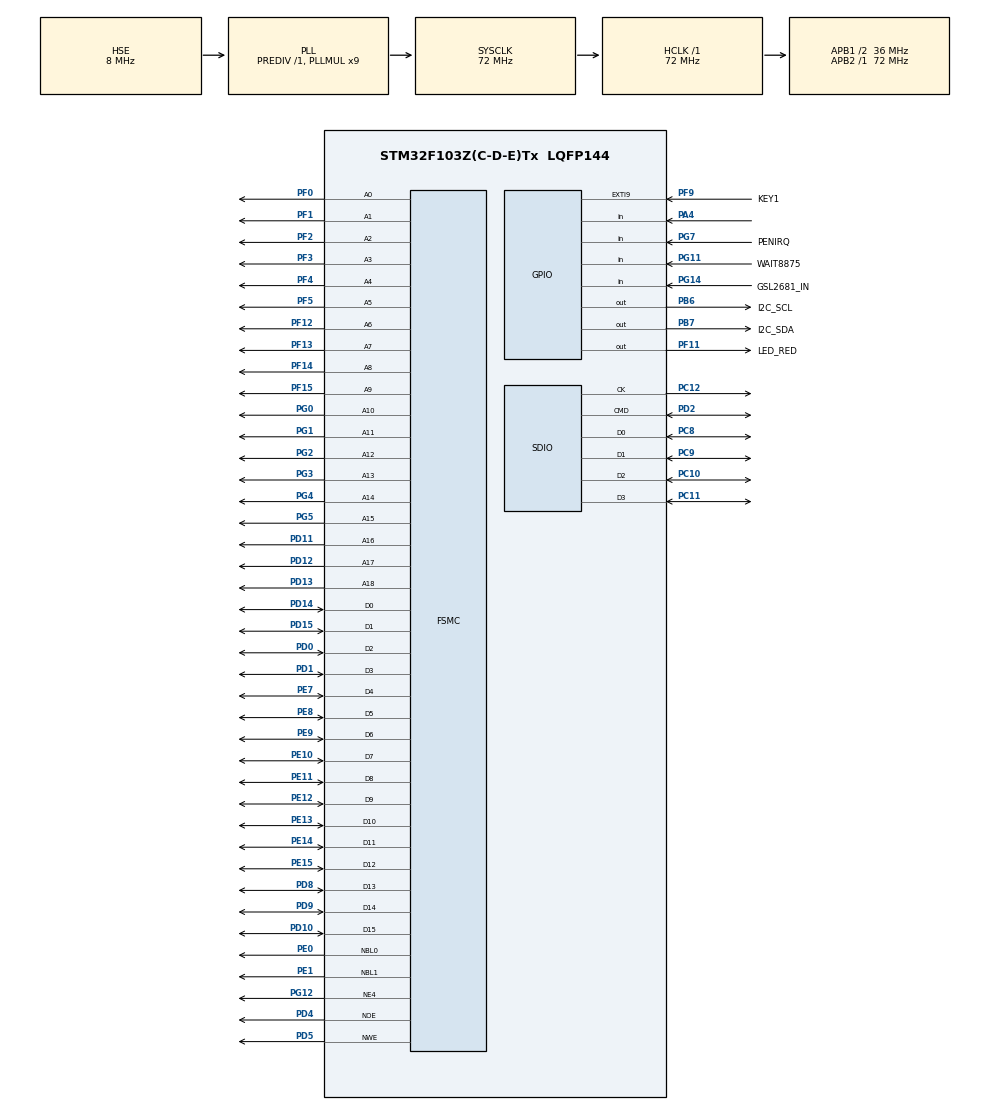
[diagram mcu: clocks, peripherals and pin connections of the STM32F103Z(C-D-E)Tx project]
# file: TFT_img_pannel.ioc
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Dma.Request0=SDIO
Dma.SDIO.0.Direction=DMA_PERIPH_TO_MEMORY
Dma.SDIO.0.Instance=DMA2_Channel4
Dma.SDIO.0.MemDataAlignment=DMA_MDATAALIGN_WORD
Dma.SDIO.0.MemInc=DMA_MINC_ENABLE
Dma.SDIO.0.Mode=DMA_NORMAL
Dma.SDIO.0.PeriphDataAlignment=DMA_PDATAALIGN_WORD
Dma.SDIO.0.PeriphInc=DMA_PINC_DISABLE
Dma.SDIO.0.Priority=DMA_PRIORITY_LOW
FATFS.BSP.number=1
FATFS._CODE_PAGE=850
FATFS._LFN_UNICODE=0
FATFS._STRF_ENCODE=0
FATFS._USE_FIND=1
FATFS._USE_LFN=2
FATFS0.BSP.STBoard=false
FATFS0.BSP.api=Unknown
FATFS0.BSP.i2caddr=0
FATFS0.BSP.instance=PA4
FATFS0.BSP.ip=GPIO
FATFS0.BSP.mode=Input
FATFS0.BSP.name=Detect_SDIO
FATFS0.BSP.solution=PA4
FSMC.AddressSetupTime4=0
FSMC.BusTurnAroundDuration4=0
FSMC.DataSetupTime4=3
FSMC.WriteOperation4=FSMC_WRITE_OPERATION_ENABLE
Mcu.Family=STM32F1
Mcu.Name=STM32F103Z(C-D-E)Tx
Mcu.Package=LQFP144
NVIC.DMA2_Channel4_5_IRQn=true\:0\:0\:false\:false\:true\:false\:true\:true
NVIC.EXTI9_5_IRQn=true\:0\:0\:false\:false\:true\:true\:true\:true
NVIC.PriorityGroup=NVIC_PRIORITYGROUP_4
OSC_IN.Mode=HSE-External-Oscillator
OSC_IN.Signal=RCC_OSC_IN
OSC_OUT.Mode=HSE-External-Oscillator
OSC_OUT.Signal=RCC_OSC_OUT
PA13.Mode=Serial_Wire
PA13.Signal=SYS_JTMS-SWDIO
PA14.Mode=Serial_Wire
PA14.Signal=SYS_JTCK-SWCLK
PA4.GPIO_PuPd=GPIO_PULLDOWN
PA4.Signal=GPIO_Input
PB6.GPIO_Label=I2C_SCL
PB6.GPIO_ModeDefaultOutputPP=GPIO_MODE_OUTPUT_OD
PB6.GPIO_PuPd=GPIO_NOPULL
PB6.GPIO_Speed=GPIO_SPEED_FREQ_HIGH
PB6.Signal=GPIO_Output
PB7.GPIO_Label=I2C_SDA
PB7.GPIO_ModeDefaultOutputPP=GPIO_MODE_OUTPUT_OD
PB7.GPIO_PuPd=GPIO_NOPULL
PB7.GPIO_Speed=GPIO_SPEED_FREQ_HIGH
PB7.Signal=GPIO_Output
PC10.Mode=SD_4_bits_Wide_bus
PC10.Signal=SDIO_D2
PC11.Mode=SD_4_bits_Wide_bus
PC11.Signal=SDIO_D3
PC12.Mode=SD_4_bits_Wide_bus
PC12.Signal=SDIO_CK
PC8.Mode=SD_4_bits_Wide_bus
PC8.Signal=SDIO_D0
PC9.Mode=SD_4_bits_Wide_bus
PC9.Signal=SDIO_D1
PD0.Signal=FSMC_D2_DA2
PD1.Signal=FSMC_D3_DA3
PD10.Signal=FSMC_D15_DA15
PD11.Signal=FSMC_A16_CLE
PD12.Signal=FSMC_A17_ALE
PD13.Signal=FSMC_A18
PD14.Signal=FSMC_D0_DA0
PD15.Signal=FSMC_D1_DA1
PD2.Mode=SD_4_bits_Wide_bus
PD2.Signal=SDIO_CMD
PD4.Signal=FSMC_NOE
PD5.Signal=FSMC_NWE
PD8.Signal=FSMC_D13_DA13
PD9.Signal=FSMC_D14_DA14
PE0.Signal=FSMC_NBL0
PE1.Signal=FSMC_NBL1
PE10.Signal=FSMC_D7_DA7
PE11.Signal=FSMC_D8_DA8
PE12.Signal=FSMC_D9_DA9
PE13.Signal=FSMC_D10_DA10
PE14.Signal=FSMC_D11_DA11
PE15.Signal=FSMC_D12_DA12
PE7.Signal=FSMC_D4_DA4
PE8.Signal=FSMC_D5_DA5
PE9.Signal=FSMC_D6_DA6
PF0.Signal=FSMC_A0
PF1.Signal=FSMC_A1
PF11.GPIO_Label=LED_RED
PF11.PinState=GPIO_PIN_SET
PF11.Signal=GPIO_Output
PF12.Signal=FSMC_A6
PF13.Signal=FSMC_A7
PF14.Signal=FSMC_A8
PF15.Signal=FSMC_A9
PF2.Signal=FSMC_A2
PF3.Signal=FSMC_A3
PF4.Signal=FSMC_A4
PF5.Signal=FSMC_A5
PF9.GPIO_Label=KEY1
PF9.Signal=GPXTI9
PG0.Signal=FSMC_A10
PG1.Signal=FSMC_A11
PG11.GPIO_Label=WAIT8875
PG11.GPIO_PuPd=GPIO_PULLUP
PG11.Signal=GPIO_Input
PG12.Mode=NorPsramChipSelect4_4
PG12.Signal=FSMC_NE4
PG14.GPIO_Label=GSL2681_IN
PG14.GPIO_PuPd=GPIO_PULLDOWN
PG14.Signal=GPIO_Input
PG2.Signal=FSMC_A12
PG3.Signal=FSMC_A13
PG4.Signal=FSMC_A14
PG5.Signal=FSMC_A15
PG7.GPIO_Label=PENIRQ
PG7.GPIO_PuPd=GPIO_PULLUP
PG7.Signal=GPIO_Input
ProjectManager.HeapSize=0x4000
ProjectManager.StackSize=0x1000
ProjectManager.TargetToolchain=MDK-ARM V5.32
RCC.AHBFreq_Value=72000000
RCC.APB1CLKDivider=RCC_HCLK_DIV2
RCC.APB1Freq_Value=36000000
RCC.APB1TimFreq_Value=72000000
RCC.APB2Freq_Value=72000000
RCC.APB2TimFreq_Value=72000000
RCC.HCLKFreq_Value=72000000
RCC.PLLMUL=RCC_PLL_MUL9
RCC.PLLSourceVirtual=RCC_PLLSOURCE_HSE
RCC.SYSCLKFreq_VALUE=72000000
RCC.SYSCLKSource=RCC_SYSCLKSOURCE_PLLCLK
RCC.USBFreq_Value=72000000
SDIO.ClockDiv=10
SH.FSMC_A0.0=FSMC_A0,19b-a4
SH.FSMC_A1.0=FSMC_A1,19b-a4
SH.FSMC_A10.0=FSMC_A10,19b-a4
SH.FSMC_A11.0=FSMC_A11,19b-a4
SH.FSMC_A12.0=FSMC_A12,19b-a4
SH.FSMC_A13.0=FSMC_A13,19b-a4
SH.FSMC_A14.0=FSMC_A14,19b-a4
SH.FSMC_A15.0=FSMC_A15,19b-a4
SH.FSMC_A16_CLE.0=FSMC_A16,19b-a4
SH.FSMC_A17_ALE.0=FSMC_A17,19b-a4
SH.FSMC_A18.0=FSMC_A18,19b-a4
SH.FSMC_A2.0=FSMC_A2,19b-a4
SH.FSMC_A3.0=FSMC_A3,19b-a4
SH.FSMC_A4.0=FSMC_A4,19b-a4
SH.FSMC_A5.0=FSMC_A5,19b-a4
SH.FSMC_A6.0=FSMC_A6,19b-a4
SH.FSMC_A7.0=FSMC_A7,19b-a4
SH.FSMC_A8.0=FSMC_A8,19b-a4
SH.FSMC_A9.0=FSMC_A9,19b-a4
SH.FSMC_D0_DA0.0=FSMC_D0,16b-d4
SH.FSMC_D10_DA10.0=FSMC_D10,16b-d4
SH.FSMC_D11_DA11.0=FSMC_D11,16b-d4
SH.FSMC_D12_DA12.0=FSMC_D12,16b-d4
SH.FSMC_D13_DA13.0=FSMC_D13,16b-d4
SH.FSMC_D14_DA14.0=FSMC_D14,16b-d4
SH.FSMC_D15_DA15.0=FSMC_D15,16b-d4
SH.FSMC_D1_DA1.0=FSMC_D1,16b-d4
SH.FSMC_D2_DA2.0=FSMC_D2,16b-d4
SH.FSMC_D3_DA3.0=FSMC_D3,16b-d4
SH.FSMC_D4_DA4.0=FSMC_D4,16b-d4
SH.FSMC_D5_DA5.0=FSMC_D5,16b-d4
SH.FSMC_D6_DA6.0=FSMC_D6,16b-d4
SH.FSMC_D7_DA7.0=FSMC_D7,16b-d4
SH.FSMC_D8_DA8.0=FSMC_D8,16b-d4
SH.FSMC_D9_DA9.0=FSMC_D9,16b-d4
SH.FSMC_NBL0.0=FSMC_NBL0,2ByteEnable4
SH.FSMC_NBL1.0=FSMC_NBL1,2ByteEnable4
SH.FSMC_NOE.0=FSMC_NOE,Sram4
SH.FSMC_NWE.0=FSMC_NWE,Sram4
VP_FATFS_VS_SDIO.Mode=SDIO
board=custom

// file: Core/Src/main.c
/* USER CODE BEGIN Header */
/**
  ******************************************************************************
  * @file           : main.c
  * @brief          : Main program body
  ******************************************************************************
  * @attention
  *
  * Copyright (c) 2022 STMicroelectronics.
  * All rights reserved.
  *
  * This software is licensed under terms that can be found in the LICENSE file
  * in the root directory of this software component.
  * If no LICENSE file comes with this software, it is provided AS-IS.
  *
  ******************************************************************************
  */
/* USER CODE END Header */
#include "main.h"
#include "dma.h"
#include "fatfs.h"
#include "sdio.h"
#include "gpio.h"
#include "fsmc.h"

/* USER CODE BEGIN Includes */
#include <stdio.h>

#include "StartBMP.h"
#include "Images.h"
#include "Images_jpg.h"
#include "Touches.h"
//#include "StartBMP.h"

/* USER CODE END Includes */

/* USER CODE BEGIN PM */
#define PICT_DIR					"pictures"
#define C_BUF_SIZE 				128U
#define PICT_PAUSE				"Paused, touch panel to show next..."
#define PICT_CONTINUE			"Continue..."
/* USER CODE END PM */

/* USER CODE BEGIN PV */
//FATFS fatfs;
FRESULT fresult;
FIL pic_fil;
DIR pic_dir = {0};
FILINFO pic_info;
char cbuf[C_BUF_SIZE];
volatile int8_t pic_pause = 0;
int8_t pic_pause_old = 0;
volatile int32_t pic_pause_delay = 0;

point2 touch_p, touch_old = {0, 0};
uint32_t touch_delay;
const uint32_t touch_delay_init = 2;
/* USER CODE END PV */

void SystemClock_Config(void);

/* USER CODE BEGIN 0 */
void error_handler(void)
{
	f_mount(NULL, SDPath, 1);
	// lcd_log("Umount disk", fresult);
	while (1) {
		HAL_GPIO_TogglePin(LED_RED_GPIO_Port, LED_RED_Pin);
		HAL_Delay(250);
	}
}
/* USER CODE END 0 */

int main(void)
{
  /* USER CODE BEGIN 1 */
	// uint32_t x, y;

  /* USER CODE END 1 */

  /* MCU Configuration--------------------------------------------------------*/

  /* Reset of all peripherals, Initializes the Flash interface and the Systick. */
  HAL_Init();

  /* Configure the system clock */
  SystemClock_Config();

  /* Initialize all configured peripherals */
  MX_GPIO_Init();
  MX_DMA_Init();
  MX_FSMC_Init();
  MX_SDIO_SD_Init();
  MX_FATFS_Init();
  /* USER CODE BEGIN 2 */

	// initialize lcd screen
	cwl_lcd_init();
	cwl_lcd_clear();

	cwl_lcd_log("Initialize system...", 0);
	cwl_print_bmp_r((u16*)start_bmp, 300, 200, 200, 42);
	LcdPrintStr("By SDUST weilinfox", 350, 243, WHITE, BLACK, 0);

	if (cwl_touch_init()) {
		cwl_lcd_log("Load touch panel firmware failed.", 0);
		while (1) {
			HAL_GPIO_TogglePin(LED_RED_GPIO_Port, LED_RED_Pin);
			HAL_Delay(250);
		}
	}

	// mount fat file system
	fresult = f_mount(&SDFatFS, SDPath, 1);
	if (fresult != FR_OK) {
		if (fresult == FR_NO_FILESYSTEM)
			cwl_lcd_log("Not a FAT file system", 0);
		else
			cwl_lcd_log("Mount error", fresult);
		error_handler();
	}

	/*
	RA8875_DrawHLine(0,240,800,BLACK);
	RA8875_DrawVLine(400,0,480,BLACK);
	LcdPrint16bitBmp((u16*)0x0800F000,2,2,231,205);
	for(x=2;x<231;x++)
		for(y=2;y<205;y++) {
			RA8875_PutPixelGUI(x,y+240,RA8875_GetPixelGUI(x,y));
		}
	LcdFillRec(450,60,550,180,0,BLACK);
	RA8875_RTERect(650,60,750,180,BLACK);
	LcdPrintStr("LCD experiment by weilinfox",400+2,240+2,BLACK,WHITE,0);
	LcdPrintBIAS(400,480,800,240,BLACK);
	LcdPrintBIAS(600,480,800,360,BLACK);
	*/

  /* USER CODE END 2 */

  /* Infinite loop */
  /* USER CODE BEGIN WHILE */
  while (1)
  {
		uint32_t plen;
		uint32_t pic_cnt = 0;
		if (pic_pause != pic_pause_old) {
			cwl_lcd_log(PICT_PAUSE, 0);
			HAL_Delay(250);
			pic_pause_old = pic_pause;
		}
		touch_delay = touch_delay_init; touch_old = touch_p;
		while (pic_pause && touch_delay) {	// pause
			touch_p = cwl_touch_point();
			if (touch_old.x != touch_p.x && touch_old.y != touch_p.y) {
				//cwl_lcd_log("touch x: ", touch_p.x);
				touch_old = touch_p;
				touch_delay--;
			}
			HAL_Delay(2);
		}
		if (pic_pause != pic_pause_old) {
			cwl_lcd_log(PICT_CONTINUE, 0);
			HAL_Delay(250);
			pic_pause_old = pic_pause;
		}

		fresult = f_opendir(&pic_dir, PICT_DIR);
		if (fresult != FR_OK) { // open directory failed
			if (fresult == FR_NO_PATH) {
				f_mkdir(PICT_DIR);
				cwl_lcd_log("Please put your pictures under \""PICT_DIR"\"", 0);
			} else {
				cwl_lcd_log("Open "PICT_DIR" failed", fresult);
			}
			error_handler();
		}
		fresult = f_readdir(&pic_dir, &pic_info);
		if (fresult != FR_OK) {
			cwl_lcd_log("Read file error", fresult);
			error_handler();
		} else if (! pic_info.fname[0]) {
			cwl_lcd_log("No file found under "PICT_DIR, 0);
			error_handler();
		}

		do {
			snprintf(cbuf, C_BUF_SIZE, PICT_DIR"/%s", (char*)pic_info.fname);
			if (pic_pause != pic_pause_old) {
				cwl_lcd_log(PICT_PAUSE, 0);
				HAL_Delay(250);
				pic_pause_old = pic_pause;
			}
			touch_delay = touch_delay_init; touch_old = touch_p;
			while (pic_pause && touch_delay) {	// pause
				touch_p = cwl_touch_point();
				if (touch_old.x != touch_p.x && touch_old.y != touch_p.y) {
					//cwl_lcd_log("touch x: ", touch_p.x);
					touch_old = touch_p;
					touch_delay--;
				}
				HAL_Delay(2);
			}
			if (pic_pause != pic_pause_old) {
				cwl_lcd_log(PICT_CONTINUE, 0);
				HAL_Delay(250);
				pic_pause_old = pic_pause;
			}

			fresult = f_open(&pic_fil, cbuf, FA_READ);
			if (fresult != FR_OK) {
				cwl_lcd_log("File open error", fresult);
				error_handler();
			}

			plen = strlen(cbuf);

			//cwl_lcd_log(cbuf, 0);
			//cwl_lcd_white();
			cwl_lcd_clear();
			if (! strcmp(cbuf+plen-4, ".bmp") || ! strcmp(cbuf+plen-4, ".BMP")) {
				if (!cwl_lcd_bmp(&pic_fil) && !pic_pause) HAL_Delay(2000);
				pic_cnt++;
			} else if (! strcmp(cbuf+plen-4, ".jpg") || ! strcmp(cbuf+plen-4, ".JPG")) {
				//cwl_lcd_log("cwl_lcd_jpg_ptr", (int32_t)&pic_fil);
				//HAL_Delay(500);
				if (!cwl_lcd_jpg(&pic_fil) && !pic_pause) HAL_Delay(2000);
				//HAL_Delay(500);
				pic_cnt++;
			}

			// close file
			fresult = f_close(&pic_fil);
			if (fresult != FR_OK) {
				cwl_lcd_log("File close error", fresult);
				HAL_Delay(500);
			}

			fresult = f_readdir(&pic_dir, &pic_info);
		} while (fresult == FR_OK && pic_info.fname[0]);

		if (fresult != FR_OK) {
			cwl_lcd_log("Get next file failed", fresult);
			error_handler();
		}
		fresult = f_closedir(&pic_dir);
		if (fresult != FR_OK) {
			cwl_lcd_log("Close directory "PICT_DIR" error", fresult);
			error_handler();
		}
    /* USER CODE END WHILE */

    /* USER CODE BEGIN 3 */
		if (pic_cnt == 0) {
			cwl_lcd_log("No bmp or jpg file found.", 0);
			error_handler();
		}
  }
  /* USER CODE END 3 */
}

void SystemClock_Config(void)
{
  RCC_OscInitTypeDef RCC_OscInitStruct = {0};
  RCC_ClkInitTypeDef RCC_ClkInitStruct = {0};

  /** Initializes the RCC Oscillators according to the specified parameters
  * in the RCC_OscInitTypeDef structure.
  */
  RCC_OscInitStruct.OscillatorType = RCC_OSCILLATORTYPE_HSE;
  RCC_OscInitStruct.HSEState = RCC_HSE_ON;
  RCC_OscInitStruct.HSEPredivValue = RCC_HSE_PREDIV_DIV1;
  RCC_OscInitStruct.HSIState = RCC_HSI_ON;
  RCC_OscInitStruct.PLL.PLLState = RCC_PLL_ON;
  RCC_OscInitStruct.PLL.PLLSource = RCC_PLLSOURCE_HSE;
  RCC_OscInitStruct.PLL.PLLMUL = RCC_PLL_MUL9;
  if (HAL_RCC_OscConfig(&RCC_OscInitStruct) != HAL_OK)
  {
    Error_Handler();
  }

  /** Initializes the CPU, AHB and APB buses clocks
  */
  RCC_ClkInitStruct.ClockType = RCC_CLOCKTYPE_HCLK|RCC_CLOCKTYPE_SYSCLK
                              |RCC_CLOCKTYPE_PCLK1|RCC_CLOCKTYPE_PCLK2;
  RCC_ClkInitStruct.SYSCLKSource = RCC_SYSCLKSOURCE_PLLCLK;
  RCC_ClkInitStruct.AHBCLKDivider = RCC_SYSCLK_DIV1;
  RCC_ClkInitStruct.APB1CLKDivider = RCC_HCLK_DIV2;
  RCC_ClkInitStruct.APB2CLKDivider = RCC_HCLK_DIV1;

  if (HAL_RCC_ClockConfig(&RCC_ClkInitStruct, FLASH_LATENCY_2) != HAL_OK)
  {
    Error_Handler();
  }
}

/* USER CODE BEGIN 4 */
/**
  * @brief  EXTI line detection callbacks.
  * @param  GPIO_Pin: Specifies the pins connected EXTI line
  * @retval None
  */
void HAL_GPIO_EXTI_Callback(uint16_t GPIO_Pin)
{
	// pause pin
	if (GPIO_Pin == KEY1_Pin && ! pic_pause_delay) {
		pic_pause = ! pic_pause;
		pic_pause_delay = 500;
	}
}

/**
  * @brief  SYSTICK callback.
  * @retval None
  */
void HAL_SYSTICK_Callback(void)
{
  /* NOTE : This function Should not be modified, when the callback is needed,
            the HAL_SYSTICK_Callback could be implemented in the user file
   */
	if (pic_pause_delay)
		pic_pause_delay--;
}
/* USER CODE END 4 */

void Error_Handler(void)
{
  __disable_irq();
  while (1)
  {
  }
}
